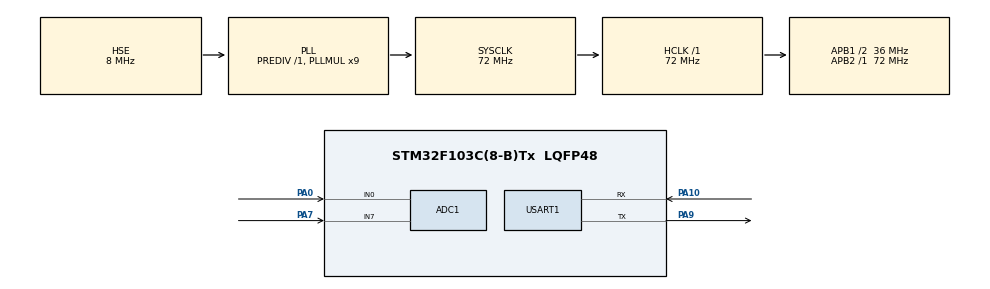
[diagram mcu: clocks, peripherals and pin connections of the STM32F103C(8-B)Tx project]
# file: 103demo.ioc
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ADC1.Channel-0\#ChannelRegularConversion=ADC_CHANNEL_7
ADC1.Channel-1\#ChannelRegularConversion=ADC_CHANNEL_0
ADC1.Channel-2\#ChannelRegularConversion=ADC_CHANNEL_TEMPSENSOR
ADC1.Channel-3\#ChannelRegularConversion=ADC_CHANNEL_VREFINT
ADC1.ContinuousConvMode=ENABLE
ADC1.DiscontinuousConvMode=DISABLE
ADC1.NbrOfConversion=4
ADC1.NbrOfConversionFlag=1
ADC1.Rank-0\#ChannelRegularConversion=1
ADC1.Rank-1\#ChannelRegularConversion=2
ADC1.Rank-2\#ChannelRegularConversion=3
ADC1.Rank-3\#ChannelRegularConversion=4
ADC1.SamplingTime-0\#ChannelRegularConversion=ADC_SAMPLETIME_28CYCLES_5
ADC1.SamplingTime-1\#ChannelRegularConversion=ADC_SAMPLETIME_41CYCLES_5
ADC1.SamplingTime-2\#ChannelRegularConversion=ADC_SAMPLETIME_239CYCLES_5
ADC1.SamplingTime-3\#ChannelRegularConversion=ADC_SAMPLETIME_239CYCLES_5
ADC1.master=1
Dma.ADC1.0.Direction=DMA_PERIPH_TO_MEMORY
Dma.ADC1.0.Instance=DMA1_Channel1
Dma.ADC1.0.MemDataAlignment=DMA_MDATAALIGN_HALFWORD
Dma.ADC1.0.MemInc=DMA_MINC_ENABLE
Dma.ADC1.0.Mode=DMA_CIRCULAR
Dma.ADC1.0.PeriphDataAlignment=DMA_PDATAALIGN_HALFWORD
Dma.ADC1.0.PeriphInc=DMA_PINC_DISABLE
Dma.ADC1.0.Priority=DMA_PRIORITY_LOW
Dma.Request0=ADC1
Mcu.Family=STM32F1
Mcu.Name=STM32F103C(8-B)Tx
Mcu.Package=LQFP48
NVIC.ADC1_2_IRQn=true\:0\:0\:false\:false\:true\:true\:true\:true
NVIC.DMA1_Channel1_IRQn=true\:0\:0\:false\:false\:true\:false\:true\:true
NVIC.PriorityGroup=NVIC_PRIORITYGROUP_4
PA0-WKUP.Signal=ADCx_IN0
PA10.Mode=Asynchronous
PA10.Signal=USART1_RX
PA13.Mode=Serial_Wire
PA13.Signal=SYS_JTMS-SWDIO
PA14.Mode=Serial_Wire
PA14.Signal=SYS_JTCK-SWCLK
PA7.Signal=ADCx_IN7
PA9.Mode=Asynchronous
PA9.Signal=USART1_TX
PD0-OSC_IN.Mode=HSE-External-Oscillator
PD0-OSC_IN.Signal=RCC_OSC_IN
PD1-OSC_OUT.Mode=HSE-External-Oscillator
PD1-OSC_OUT.Signal=RCC_OSC_OUT
ProjectManager.HeapSize=0x200
ProjectManager.StackSize=0x400
ProjectManager.TargetToolchain=MDK-ARM V5.32
RCC.ADCPresc=RCC_ADCPCLK2_DIV6
RCC.AHBFreq_Value=72000000
RCC.APB1CLKDivider=RCC_HCLK_DIV2
RCC.APB1Freq_Value=36000000
RCC.APB1TimFreq_Value=72000000
RCC.APB2Freq_Value=72000000
RCC.APB2TimFreq_Value=72000000
RCC.HCLKFreq_Value=72000000
RCC.PLLMUL=RCC_PLL_MUL9
RCC.PLLSourceVirtual=RCC_PLLSOURCE_HSE
RCC.SYSCLKFreq_VALUE=72000000
RCC.SYSCLKSource=RCC_SYSCLKSOURCE_PLLCLK
RCC.USBFreq_Value=72000000
SH.ADCx_IN0.0=ADC1_IN0,IN0
SH.ADCx_IN7.0=ADC1_IN7,IN7
USART1.VirtualMode=VM_ASYNC
VP_ADC1_TempSens_Input.Mode=IN-TempSens
VP_ADC1_Vref_Input.Mode=IN-Vrefint
board=custom

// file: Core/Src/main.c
/* USER CODE BEGIN Header */
/**
  ******************************************************************************
  * @file           : main.c
  * @brief          : Main program body
  ******************************************************************************
  * @attention
  *
  * Copyright (c) 2026 STMicroelectronics.
  * All rights reserved.
  *
  * This software is licensed under terms that can be found in the LICENSE file
  * in the root directory of this software component.
  * If no LICENSE file comes with this software, it is provided AS-IS.
  *
  ******************************************************************************
  */
/* USER CODE END Header */
#include "main.h"
#include "adc.h"
#include "dma.h"
#include "usart.h"
#include "gpio.h"

/* USER CODE BEGIN PV */
#define ADC_CH_NUM 4
#define ADC_BUFFER_SIZE (ADC_CH_NUM * 2)

volatile uint16_t adc_dma_buffer[ADC_BUFFER_SIZE];
volatile uint8_t adc_half_ready = 0;
volatile uint8_t adc_full_ready = 0;
volatile uint32_t now_time;
uint16_t half_cnt=0;
uint16_t full_cnt=0;
/* USER CODE END PV */

void SystemClock_Config(void);

int main(void)
{

  /* MCU Configuration--------------------------------------------------------*/

  /* Reset of all peripherals, Initializes the Flash interface and the Systick. */
  HAL_Init();

  /* Configure the system clock */
  SystemClock_Config();

  /* Initialize all configured peripherals */
  MX_GPIO_Init();
  MX_DMA_Init();
  MX_ADC1_Init();
  MX_USART1_UART_Init();
  /* USER CODE BEGIN 2 */

	HAL_UART_Transmit(&huart1,(uint8_t*)"hello\n",6,HAL_MAX_DELAY);

  if(HAL_ADC_Start_DMA(&hadc1, (uint32_t*)adc_dma_buffer, ADC_BUFFER_SIZE) != HAL_OK)
  {
      Error_Handler();
  }

  /* USER CODE END 2 */

  /* Infinite loop */
  /* USER CODE BEGIN WHILE */
  while (1)
  {
    if(adc_half_ready == 1)
    {
      half_cnt++;
      adc_half_ready = 0; // 清除标志

      // 强烈建议：先用 memcpy 把数据拷贝出来，再慢慢处理(如printf)
      // 防止 printf 耗时太长期间，DMA 转完一圈覆盖了这里的数据
      uint16_t temp_half[ADC_CH_NUM];
      memcpy(temp_half, (const void*)&adc_dma_buffer[0], ADC_CH_NUM * sizeof(uint16_t));

      // 打印前半区数据
      printf("Half: %d,%d,%d,%d\r\n", temp_half[0], temp_half[1], temp_half[2], temp_half[3]);
    }

    // ---------------------------------------------------------
    // 处理后半区数据 (DMA正在悄悄搬运前半区数据)
    // ---------------------------------------------------------
    if(adc_full_ready == 1)
    {
      full_cnt++;
      adc_full_ready = 0; // 清除标志

      // 拷贝后半区数据
      uint16_t temp_full[ADC_CH_NUM];
      memcpy(temp_full, (const void*)&adc_dma_buffer[ADC_CH_NUM], ADC_CH_NUM * sizeof(uint16_t));

      // 打印后半区数据
      printf("Full: %d,%d,%d,%d\r\n", temp_full[0], temp_full[1], temp_full[2], temp_full[3]);
    }
    /* USER CODE END WHILE */

  }
}

void SystemClock_Config(void)
{
  RCC_OscInitTypeDef RCC_OscInitStruct = {0};
  RCC_ClkInitTypeDef RCC_ClkInitStruct = {0};
  RCC_PeriphCLKInitTypeDef PeriphClkInit = {0};

  /** Initializes the RCC Oscillators according to the specified parameters
  * in the RCC_OscInitTypeDef structure.
  */
  RCC_OscInitStruct.OscillatorType = RCC_OSCILLATORTYPE_HSE;
  RCC_OscInitStruct.HSEState = RCC_HSE_ON;
  RCC_OscInitStruct.HSEPredivValue = RCC_HSE_PREDIV_DIV1;
  RCC_OscInitStruct.HSIState = RCC_HSI_ON;
  RCC_OscInitStruct.PLL.PLLState = RCC_PLL_ON;
  RCC_OscInitStruct.PLL.PLLSource = RCC_PLLSOURCE_HSE;
  RCC_OscInitStruct.PLL.PLLMUL = RCC_PLL_MUL9;
  if (HAL_RCC_OscConfig(&RCC_OscInitStruct) != HAL_OK)
  {
    Error_Handler();
  }

  /** Initializes the CPU, AHB and APB buses clocks
  */
  RCC_ClkInitStruct.ClockType = RCC_CLOCKTYPE_HCLK|RCC_CLOCKTYPE_SYSCLK
                              |RCC_CLOCKTYPE_PCLK1|RCC_CLOCKTYPE_PCLK2;
  RCC_ClkInitStruct.SYSCLKSource = RCC_SYSCLKSOURCE_PLLCLK;
  RCC_ClkInitStruct.AHBCLKDivider = RCC_SYSCLK_DIV1;
  RCC_ClkInitStruct.APB1CLKDivider = RCC_HCLK_DIV2;
  RCC_ClkInitStruct.APB2CLKDivider = RCC_HCLK_DIV1;

  if (HAL_RCC_ClockConfig(&RCC_ClkInitStruct, FLASH_LATENCY_2) != HAL_OK)
  {
    Error_Handler();
  }
  PeriphClkInit.PeriphClockSelection = RCC_PERIPHCLK_ADC;
  PeriphClkInit.AdcClockSelection = RCC_ADCPCLK2_DIV6;
  if (HAL_RCCEx_PeriphCLKConfig(&PeriphClkInit) != HAL_OK)
  {
    Error_Handler();
  }
}

/* USER CODE BEGIN 4 */
// 全传输完成中断：DMA 刚好填满后半区 [ADC_CH_NUM, ADC_BUFFER_SIZE-1]
void HAL_ADC_ConvCpltCallback(ADC_HandleTypeDef* hadc)
{
  if(hadc == &hadc1)
  {

    adc_full_ready = 1;
  }
}

// 半传输完成中断：DMA 刚好填满前半区 [0, ADC_CH_NUM-1]
void HAL_ADC_ConvHalfCpltCallback(ADC_HandleTypeDef* hadc)
{
  if(hadc == &hadc1)
  {
    adc_half_ready = 1;
  }
}
/* USER CODE END 4 */

void Error_Handler(void)
{
  __disable_irq();
  while (1)
  {
  }
}
